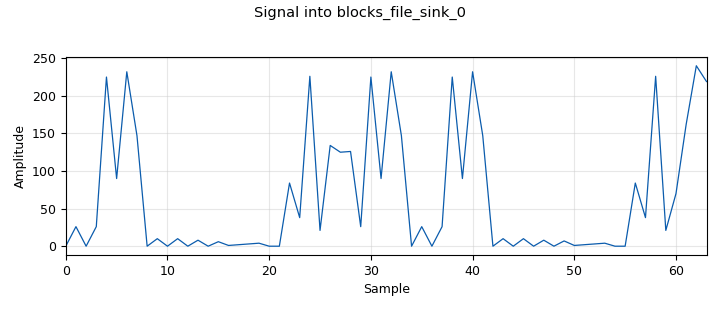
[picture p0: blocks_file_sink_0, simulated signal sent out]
options:
  parameters:
    generate_options: no_gui
    id: test_packet_mux_and_demux
    output_language: python
    title: Test packet mux and demux
  states: {}

blocks:
- name: access_code
  id: variable
  parameters:
    value: '"11100001010110101110100010010011"'
  states: {}
- name: format_default
  id: variable
  parameters:
    value: digital.header_format_default(access_code,0)
  states: {}
- name: format_used
  id: variable
  parameters:
    value: digital.header_format_counter(access_code,0,8)
  states: {}
- name: garbage_preamble_length_n_bytes
  id: variable
  parameters:
    value: packet_size*10
  states: {}
- name: num_pream_packets
  id: variable
  parameters:
    value: int(garbage_preamble_length_n_bytes/packet_size)
  states: {}
- name: samp_rate
  id: variable
  parameters:
    value: '32000'
  states: {}
- name: blocks_char_to_float_0
  id: blocks_char_to_float
  parameters:
    scale: '1'
  states: {state: disabled}
- name: blocks_file_sink_0
  id: blocks_file_sink
  parameters:
    file: out
    type: byte
  states: {}
- name: blocks_message_debug_0
  id: blocks_message_debug
  parameters:
    en_uvec: 'False'
    log_level: debug
  states: {}
- name: blocks_message_debug_1
  id: blocks_message_debug
  parameters: {}
  states: {}
- name: blocks_message_debug_2
  id: blocks_message_debug
  parameters: {}
  states: {}
- name: blocks_message_strobe_0
  id: blocks_message_strobe
  parameters:
    msg: pmt.cons(pmt.PMT_NIL, pmt.init_u8vector(6,[0x01,0x02,0x03,0x04,0x00,0x00]))
    period: '1000'
  states: {}
- name: blocks_repack_bits_bb_0
  id: blocks_repack_bits_bb
  parameters:
    endianness: gr.GR_MSB_FIRST
    k: '8'
    l: '1'
    len_tag_key: '"packet_len"'
  states: {}
- name: blocks_repack_bits_bb_1
  id: blocks_repack_bits_bb
  parameters:
    endianness: gr.GR_MSB_FIRST
    k: '1'
    l: '8'
    len_tag_key: '"frame_len"'
  states: {}
- name: blocks_repack_bits_bb_2
  id: blocks_repack_bits_bb
  parameters:
    endianness: gr.GR_MSB_FIRST
    k: '1'
    l: '8'
    len_tag_key: '"packet_len"'
  states: {}
- name: blocks_repack_bits_bb_3
  id: blocks_repack_bits_bb
  parameters:
    endianness: gr.GR_MSB_FIRST
    k: '8'
    l: '1'
  states: {}
- name: blocks_tag_gate_0
  id: blocks_tag_gate
  parameters:
    propagate_tags: 'False'
    type: byte
  states: {}
- name: blocks_tagged_stream_mux_0
  id: blocks_tagged_stream_mux
  parameters:
    lengthtagname: packet_len
    ninputs: '2'
    type: byte
  states: {}
- name: blocks_tagged_stream_mux_2
  id: blocks_tagged_stream_mux
  parameters:
    lengthtagname: packet_len
    ninputs: '2'
    type: byte
  states: {}
- name: digital_correlate_access_code_xx_ts_0
  id: digital_correlate_access_code_xx_ts
  parameters:
    access_code: access_code
    tagname: packet_len
    threshold: '0'
    type: byte
  states: {}
- name: digital_crc32_async_bb_0
  id: digital_crc32_async_bb
  parameters:
    check: 'False'
  states: {}
- name: digital_crc32_bb_0
  id: digital_crc32_bb
  parameters:
    check: 'True'
    lengthtagname: '"frame_len"'
    packed: 'True'
  states: {}
- name: digital_crc32_bb_1
  id: digital_crc32_bb
  parameters:
    check: 'False'
    lengthtagname: '"packet_len"'
    packed: 'True'
  states: {}
- name: digital_crc32_bb_2
  id: digital_crc32_bb
  parameters:
    check: 'True'
    lengthtagname: '"packet_len"'
    packed: 'True'
  states: {}
- name: digital_header_payload_demux_0
  id: digital_header_payload_demux
  parameters:
    header_len: '96'
    header_padding: '0'
    items_per_symbol: '1'
    length_tag_key: '"frame_len"'
    output_symbols: 'False'
    samp_rate: samp_rate
    special_tags: ()
    timing_tag_key: '""'
    trigger_tag_key: '"packet_len"'
    type: byte
  states: {}
- name: digital_protocol_formatter_async_0
  id: digital_protocol_formatter_async
  parameters:
    format: format_used
  states: {}
- name: digital_protocol_formatter_bb_1
  id: digital_protocol_formatter_bb
  parameters:
    format: format_default
    len_tag_key: '"packet_len"'
  states: {}
- name: digital_protocol_parser_b_0
  id: digital_protocol_parser_b
  parameters:
    format: format_used
  states: {}
- name: out
  id: parameter
  parameters:
    label: Output filename
    type: str
    value: out.bin
  states: {}
- name: packet_size
  id: parameter
  parameters:
    label: Packet Size
    type: intx
    value: '64'
  states: {}
- name: pdu_pdu_filter_0
  id: pdu_pdu_filter
  parameters:
    invert: 'False'
    k: pmt.intern("select")
    v: pmt.PMT_T
  states: {}
- name: pdu_pdu_lambda_0
  id: pdu_pdu_lambda
  parameters:
    fn: 'lambda x: pmt.dict_add(x, pmt.string_to_symbol("frame_len"), pmt.from_long(8*pmt.to_long(pmt.dict_ref(x,pmt.string_to_symbol("payload symbols"),pmt.from_long(0)))))'
    metadict: Raw Message
  states: {}
- name: pdu_pdu_lambda_1
  id: pdu_pdu_lambda
  parameters:
    fn: 'lambda x: pmt.cons(pmt.to_pmt({ ''select'': True }) if pmt.to_long(pmt.dict_ref(pmt.car(x), pmt.string_to_symbol("counter"), pmt.from_long(0))) >= num_pream_packets else pmt.to_pmt({ ''select'': False }), pmt.cdr(x))'
    metadict: Raw Message
  states: {}
- name: pdu_pdu_to_tagged_stream_0
  id: pdu_pdu_to_tagged_stream
  parameters:
    tag: packet_len
    type: byte
  states: {}
- name: pdu_pdu_to_tagged_stream_0_0
  id: pdu_pdu_to_tagged_stream
  parameters:
    tag: packet_len
    type: byte
  states: {}
- name: pdu_tagged_stream_to_pdu_0
  id: pdu_tagged_stream_to_pdu
  parameters:
    tag: frame_len
    type: byte
  states: {}
- name: qtgui_time_sink_x_0
  id: qtgui_time_sink_x
  parameters:
    autoscale: 'True'
    size: '23'
    srate: samp_rate
    type: float
  states: {state: disabled}
- name: virtual_sink_0
  id: virtual_sink
  parameters:
    stream_id: bits
  states: {}
- name: virtual_source_0
  id: virtual_source
  parameters:
    stream_id: bits
  states: {}

connections:
- [blocks_char_to_float_0, '0', qtgui_time_sink_x_0, '0']
- [blocks_message_strobe_0, strobe, digital_crc32_async_bb_0, in]
- [blocks_repack_bits_bb_0, '0', blocks_tag_gate_0, '0']
- [blocks_repack_bits_bb_1, '0', digital_crc32_bb_0, '0']
- [blocks_repack_bits_bb_2, '0', digital_crc32_bb_2, '0']
- [blocks_repack_bits_bb_3, '0', digital_header_payload_demux_0, '0']
- [blocks_tag_gate_0, '0', virtual_sink_0, '0']
- [blocks_tagged_stream_mux_0, '0', digital_crc32_bb_1, '0']
- [blocks_tagged_stream_mux_2, '0', blocks_file_sink_0, '0']
- [blocks_tagged_stream_mux_2, '0', blocks_repack_bits_bb_0, '0']
- [digital_correlate_access_code_xx_ts_0, '0', blocks_repack_bits_bb_2, '0']
- [digital_crc32_async_bb_0, out, digital_protocol_formatter_async_0, in]
- [digital_crc32_bb_0, '0', blocks_char_to_float_0, '0']
- [digital_crc32_bb_0, '0', pdu_tagged_stream_to_pdu_0, '0']
- [digital_crc32_bb_1, '0', blocks_tagged_stream_mux_2, '1']
- [digital_crc32_bb_1, '0', digital_protocol_formatter_bb_1, '0']
- [digital_crc32_bb_2, '0', blocks_repack_bits_bb_3, '0']
- [digital_header_payload_demux_0, '0', digital_protocol_parser_b_0, '0']
- [digital_header_payload_demux_0, '1', blocks_repack_bits_bb_1, '0']
- [digital_protocol_formatter_async_0, header, blocks_message_debug_2, print]
- [digital_protocol_formatter_async_0, header, pdu_pdu_to_tagged_stream_0, pdus]
- [digital_protocol_formatter_async_0, payload, pdu_pdu_to_tagged_stream_0_0, pdus]
- [digital_protocol_formatter_bb_1, '0', blocks_tagged_stream_mux_2, '0']
- [digital_protocol_parser_b_0, info, pdu_pdu_lambda_0, pdu]
- [pdu_pdu_filter_0, pdus, blocks_message_debug_1, print]
- [pdu_pdu_lambda_0, pdu, blocks_message_debug_0, print]
- [pdu_pdu_lambda_0, pdu, digital_header_payload_demux_0, header_data]
- [pdu_pdu_lambda_1, pdu, pdu_pdu_filter_0, pdus]
- [pdu_pdu_to_tagged_stream_0, '0', blocks_tagged_stream_mux_0, '0']
- [pdu_pdu_to_tagged_stream_0_0, '0', blocks_tagged_stream_mux_0, '1']
- [pdu_tagged_stream_to_pdu_0, pdus, pdu_pdu_lambda_1, pdu]
- [virtual_source_0, '0', digital_correlate_access_code_xx_ts_0, '0']

metadata:
  file_format: 1
  grc_version: 3.10.9.2
